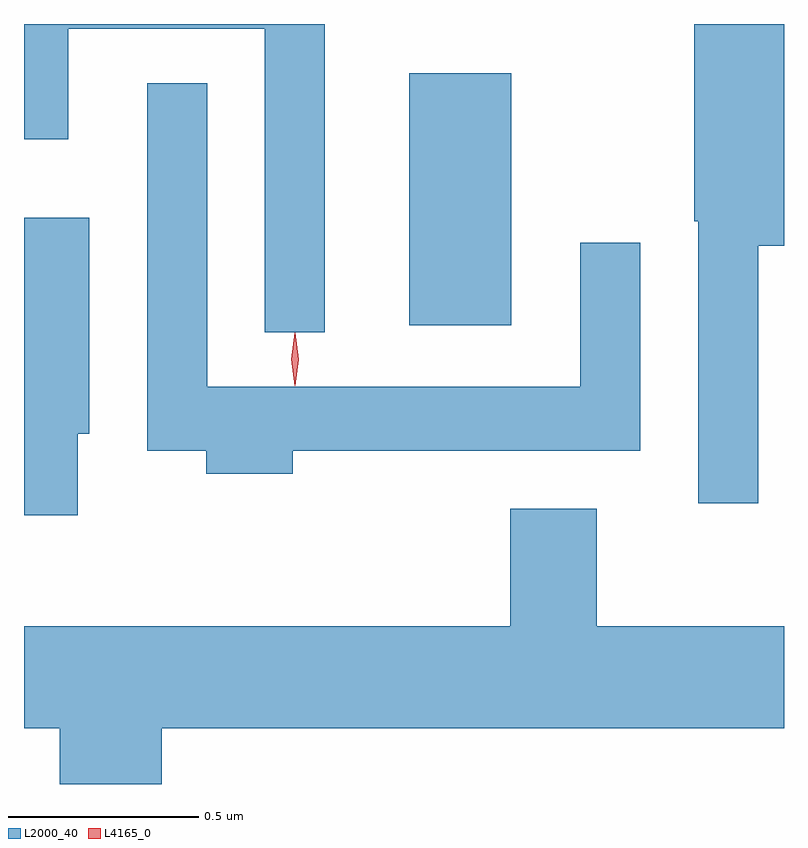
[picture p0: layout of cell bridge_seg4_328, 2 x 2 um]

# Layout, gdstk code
import gdstk
lib = gdstk.Library(unit=1e-6, precision=1e-09)
def R(c, l, rs):  # rectangles x0, y0, x1, y1
    for r in rs: c.add(gdstk.rectangle(r[:2], r[2:], *l))
def P(c, l, *ps):  # polygons
    for p in ps: c.add(gdstk.Polygon(p, *l))
L2000_40 = (2000, 40)
L4165_0 = (4165, 0)

bridge_seg4_328 = lib.new_cell('bridge_seg4_328')
R(bridge_seg4_328, L2000_40, [(675.536,1269.156,675.804,1269.819)])
P(bridge_seg4_328, L2000_40, [(676.454,1269.366),(676.522,1269.366),(676.522,1269.949),(676.286,1269.949),(676.286,1269.43),(676.296,1269.43),(676.296,1268.688),(676.454,1268.688)],
  [(675.314,1269.949),(674.522,1269.949),(674.522,1269.646),(674.639,1269.646),(674.639,1269.936),(675.156,1269.936),(675.156,1269.138),(675.314,1269.138)],
  [(675.229,1268.826),(676.144,1268.826),(676.144,1269.373),(675.986,1269.373),(675.986,1268.994),(675.004,1268.994),(675.004,1269.793),(674.846,1269.793),(674.846,1268.826),(675.001,1268.826),(675.001,1268.766),(675.229,1268.766)],
  [(674.664,1268.871),(674.694,1268.871),(674.694,1269.439),(674.522,1269.439),(674.522,1268.656),(674.664,1268.656)],
  [(674.884,1268.096),(676.522,1268.096),(676.522,1268.364),(676.029,1268.364),(676.029,1268.674),(675.801,1268.674),(675.801,1268.364),(674.522,1268.364),(674.522,1268.096),(674.616,1268.096),(674.616,1267.949),(674.884,1267.949)])
P(bridge_seg4_328, L4165_0, [(675.235,1268.997),(675.235,1268.997),(675.225,1269.067),(675.235,1269.136),(675.235,1269.136),(675.236,1269.136),(675.245,1269.067),(675.236,1268.997)],
  [(675.235,1269),(675.226,1269.066),(675.235,1269.132),(675.235,1269.133),(675.236,1269.132),(675.245,1269.066),(675.236,1269),(675.236,1269)])

lib.write_gds('bridge_seg4_328.gds')
